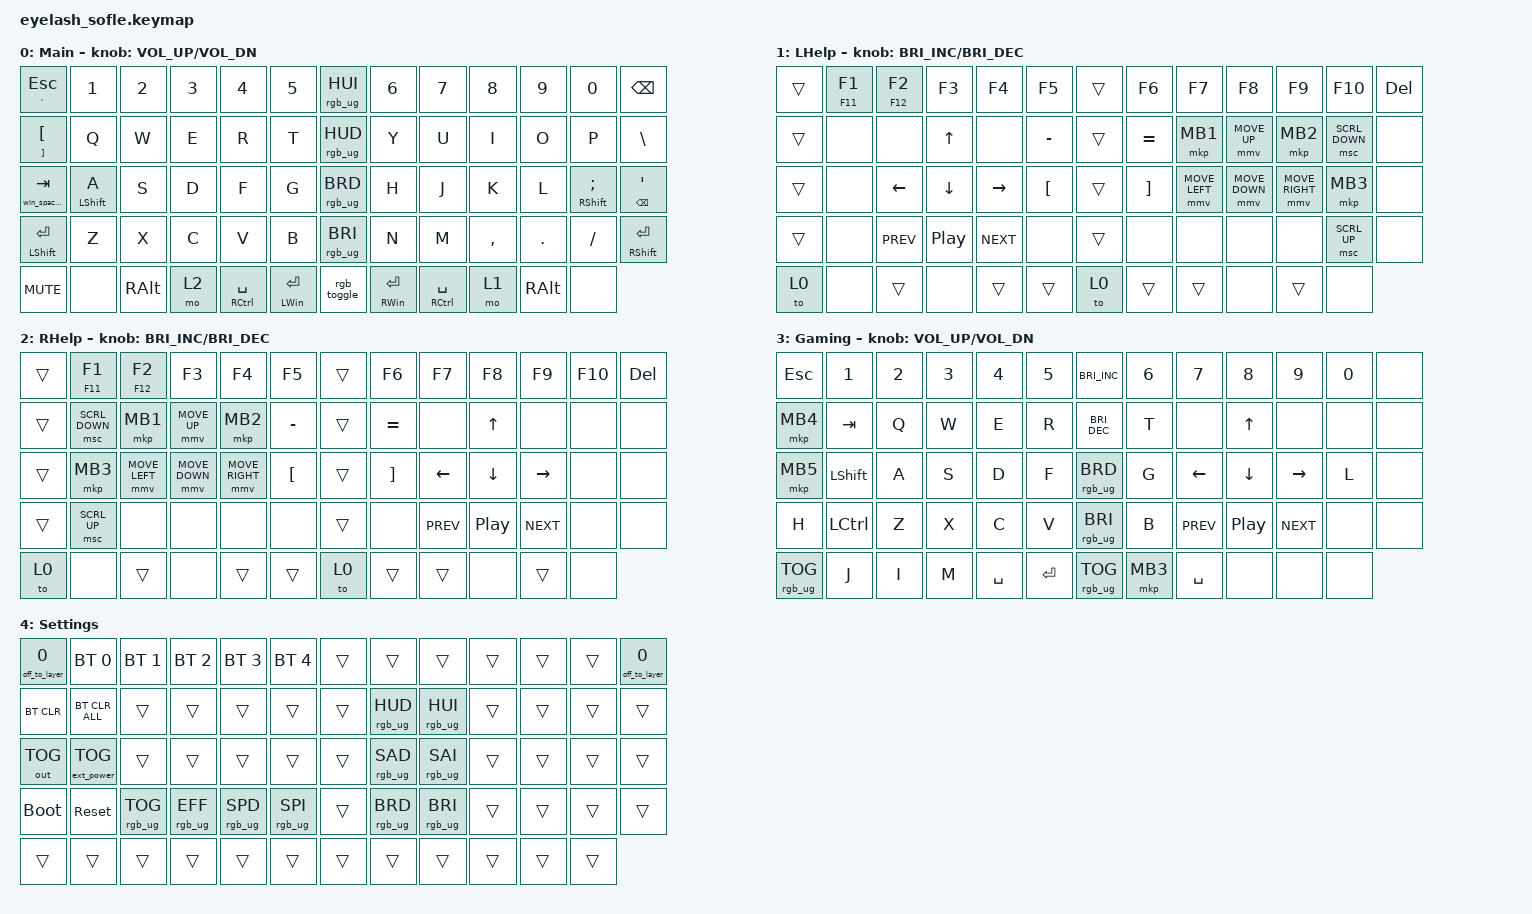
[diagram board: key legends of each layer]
#define ZMK_POINTING_DEFAULT_MOVE_VAL 400  // 600
#define ZMK_POINTING_DEFAULT_SCRL_VAL 10   // 10

#include <input/processors.dtsi>
#include <zephyr/dt-bindings/input/input-event-codes.h>
#include <behaviors.dtsi>
#include <dt-bindings/zmk/bt.h>
#include <dt-bindings/zmk/ext_power.h>
#include <dt-bindings/zmk/keys.h>
#include <dt-bindings/zmk/outputs.h>
#include <dt-bindings/zmk/pointing.h>
#include <dt-bindings/zmk/rgb.h>

&mmv_input_listener { input-processors = <&zip_xy_scaler 2 1>; };

&msc_input_listener { input-processors = <&zip_scroll_scaler 2 1>; };

&msc {
    acceleration-exponent = <0>;      // 0
    time-to-max-speed-ms = <500>;       // 300                   // 0
};

&mmv {
    time-to-max-speed-ms = <500>;
    acceleration-exponent = <1>;
    trigger-period-ms = <16>;
};

/ {
    scroll_encoder: scroll_encoder {
        compatible = "zmk,behavior-sensor-rotate";
        #sensor-binding-cells = <0>;
        bindings = <&msc SCRL_DOWN>, <&msc SCRL_UP>;

        tap-ms = <100>;
    };

    win_load: win_load {
        compatible = "zmk,behavior-tap-dance";
        label = "WIN_LOAD";
        #binding-cells = <0>;
        bindings = <&trans>, <&win>;
    };

    copy_paste: copy_paste {
        compatible = "zmk,behavior-tap-dance";
        label = "COPY_PASTE";
        #binding-cells = <0>;
        bindings = <&copy>, <&paste>;
    };

    home_row_mod_left: home_row_mod_left {
        compatible = "zmk,behavior-hold-tap";
        label = "HOME_ROW_MOD_LEFT";
        bindings = <&kp>, <&kp>;

        #binding-cells = <2>;
        hold-trigger-on-release;
        flavor = "balanced";
        require-prior-idle-ms = <150>;
        quick-tap-ms = <175>;
        tapping-term-ms = <280>;
        hold-trigger-key-positions = <7 8 9 10 11 12 20 21 22 23 24 25 33 34 35 36 37 38 46 47 48 49 50 51>;
    };

    home_row_mod_right: home_row_mod_right {
        compatible = "zmk,behavior-hold-tap";
        label = "HOME_ROW_MOD_RIGHT";
        bindings = <&kp>, <&kp>;

        #binding-cells = <2>;
        hold-trigger-on-release;
        flavor = "balanced";
        require-prior-idle-ms = <150>;
        quick-tap-ms = <175>;
        tapping-term-ms = <280>;
        hold-trigger-key-positions = <0 1 2 4 5 13 14 15 16 17 18 26 27 28 29 30 31 39 40 41 42 43 44 3>;
    };

    paste_ht_new: paste_ht_new {
        compatible = "zmk,behavior-hold-tap";
        label = "PASTE_HT_NEW";
        bindings = <&paste>, <&kp>;

        #binding-cells = <2>;
        flavor = "balanced";
        require-prior-idle-ms = <150>;
        quick-tap-ms = <175>;
        tapping-term-ms = <280>;
    };

    copy_ht_new: copy_ht_new {
        compatible = "zmk,behavior-hold-tap";
        label = "COPY_HT_NEW";
        bindings = <&copy>, <&kp>;

        #binding-cells = <2>;
        flavor = "balanced";
        require-prior-idle-ms = <150>;
        quick-tap-ms = <175>;
        tapping-term-ms = <280>;
    };

    change_lang_ht: change_lang_ht {
        compatible = "zmk,behavior-hold-tap";
        label = "CHANGE_LANG_HT";
        bindings = <&win_space_tgl>, <&kp>;

        #binding-cells = <2>;
        flavor = "balanced";
        require-prior-idle-ms = <150>;
        quick-tap-ms = <175>;
        tapping-term-ms = <280>;
    };

    behaviors {
    };

    combos {
        compatible = "zmk,combos";

        bracket_open {
            bindings = <&kp LEFT_BRACKET>;
            key-positions = <16 17>;
            layers = <0>;
        };

        equal {
            bindings = <&kp EQUAL>;
            key-positions = <34 35>;
            layers = <0>;
        };

        minus {
            bindings = <&kp MINUS>;
            key-positions = <29 30>;
            layers = <0>;
        };

        settings {
            bindings = <&rgb_to_layer 4 RGB_COLOR_HSB_VAL(64,100,50)>;
            key-positions = <53 54 55>;
            layers = <0 3>;
        };

        set_l {
            bindings = <&rgb_to_layer 4 RGB_COLOR_HSB_VAL(64,100,50)>;
            key-positions = <61 62 63>;
            layers = <0 3>;
        };

        gaming_mode {
            bindings = <&rgb_to_layer 3 RGB_COLOR_HSB_VAL(312,74,51)>;
            key-positions = <27 28 29 30>;
            layers = <0>;
        };

        bracket_close {
            bindings = <&kp RIGHT_BRACKET>;
            key-positions = <21 22>;
            layers = <0>;
        };

        lpar {
            bindings = <&kp LEFT_PARENTHESIS>;
            key-positions = <43 42>;
            layers = <0>;
        };

        rpar {
            bindings = <&kp RIGHT_PARENTHESIS>;
            key-positions = <48 47>;
            layers = <0>;
        };

        backspace {
            bindings = <&kp BACKSPACE>;
            key-positions = <60 56>;
        };
    };

    macros {
        rgb_mo_layer: rgb_layer {
            compatible = "zmk,behavior-macro-two-param";
            #binding-cells = <2>;
            bindings =
                <&macro_tap>,
                <&rgb_ug RGB_ON &macro_param_1to1>,
                <&macro_press>,
                <&mo MACRO_PLACEHOLDER &macro_param_2to2>,
                <&macro_tap>,
                <&rgb_ug RGB_COLOR_HSB_CMD MACRO_PLACEHOLDER>,
                <&macro_pause_for_release>,
                <&macro_param_1to1>,
                <&macro_release>,
                <&mo MACRO_PLACEHOLDER>,
                <&macro_tap>,
                <&rgb_ug RGB_OFF>;

            label = "RGB_LAYER";
            wait-ms = <0>;
            tap-ms = <0>;
        };

        win: win {
            compatible = "zmk,behavior-macro";
            #binding-cells = <0>;
            bindings =
                <&macro_press>,
                <&kp LEFT_GUI>,
                <&macro_tap>,
                <&kp ENTER>,
                <&macro_wait_time 1000>,
                <&macro_release>,
                <&kp LGUI>,
                <&macro_wait_time 100>,
                <&macro_tap>,
                <&kp W &kp I &kp N &kp RET>,
                <&macro_press>;

            label = "WIN";
        };

        rgb_to_layer: rgb_to_layer {
            compatible = "zmk,behavior-macro-two-param";
            #binding-cells = <2>;
            bindings =
                <&macro_param_1to1 &to MACRO_PLACEHOLDER>,
                <&macro_tap>,
                <&rgb_ug RGB_ON &macro_param_2to2 &rgb_ug RGB_COLOR_HSB_CMD MACRO_PLACEHOLDER>;

            label = "RGB_TO_LAYER";
            wait-ms = <0>;
            tap-ms = <0>;
        };

        off_to_layer: off_to_layer {
            compatible = "zmk,behavior-macro-one-param";
            #binding-cells = <1>;
            bindings =
                <&macro_param_1to1 &to MACRO_PLACEHOLDER>,
                <&macro_tap>,
                <&rgb_ug RGB_OFF>;

            label = "OFF_TO_LAYER";
            wait-ms = <0>;
            tap-ms = <0>;
        };

        rgb_toggle: rgb_toggle {
            compatible = "zmk,behavior-macro";
            #binding-cells = <0>;
            bindings = <&rgb_ug RGB_COLOR_HSB(341,100,61) &rgb_ug RGB_TOG>;
            label = "RGB_TOGGLE";
        };

        copy: copy {
            compatible = "zmk,behavior-macro";
            #binding-cells = <0>;
            bindings =
                <&macro_press>,
                <&kp RCTRL>,
                <&macro_tap>,
                <&kp C>,
                <&macro_release>,
                <&kp RCTRL>;

            label = "COPY";
        };

        paste: paste {
            compatible = "zmk,behavior-macro";
            #binding-cells = <0>;
            bindings =
                <&macro_press>,
                <&kp RCTRL>,
                <&macro_tap>,
                <&kp V>,
                <&macro_release>,
                <&kp RCTRL>;

            label = "PASTE";
        };

        win_space_tgl: win_space_tgl {
            compatible = "zmk,behavior-macro";
            #binding-cells = <0>;
            bindings =
                <&macro_press>,
                <&kp LEFT_WIN>,
                <&macro_tap>,
                <&kp SPACE>,
                <&macro_release>,
                <&kp LEFT_WIN>;

            label = "WIN_SPACE_TGL";
        };
    };

    keymap {
        compatible = "zmk,keymap";

        Main {
            bindings = <
&mt GRAVE ESC                   &kp N1                      &kp N2    &kp N3  &kp N4           &kp N5                &rgb_ug RGB_HUI  &kp N6               &kp N7           &kp N8     &kp N9    &kp N0                          &kp BACKSPACE
&mt RIGHT_BRACKET LEFT_BRACKET  &kp Q                       &kp W     &kp E   &kp R            &kp T                 &rgb_ug RGB_HUD  &kp Y                &kp U            &kp I      &kp O     &kp P                           &kp BSLH
&change_lang_ht 0 TAB           &home_row_mod_left LSHFT A  &kp S     &kp D   &kp F            &kp G                 &rgb_ug RGB_BRD  &kp H                &kp J            &kp K      &kp L     &home_row_mod_right RSHFT SEMI  &mt BACKSPACE APOS
&mt LSHFT ENTER                 &kp Z                       &kp X     &kp C   &kp V            &kp B                 &rgb_ug RGB_BRI  &kp N                &kp M            &kp COMMA  &kp DOT   &kp FSLH                        &mt RSHIFT ENTER
&kp C_MUTE                      &none                       &kp RALT  &mo 2   &mt RCTRL SPACE  &mt LEFT_WIN ENTER    &rgb_toggle      &mt RIGHT_WIN ENTER  &mt RCTRL SPACE  &mo 1      &kp RALT  &none
            >;

            sensor-bindings = <&inc_dec_kp C_VOLUME_UP C_VOL_DN>;
            display-name = "Main";
            label = "Main";
        };

        LHelp {
            bindings = <
&trans  &mt F11 F1  &mt F12 F2  &kp F3    &kp F4      &kp F5              &trans  &kp F6             &kp F7          &kp F8          &kp F9           &kp F10         &kp DEL
&trans  &none       &none       &kp UP    &none       &kp MINUS           &trans  &kp EQUAL          &mkp MB1        &mmv MOVE_UP    &mkp MB2         &msc SCRL_DOWN  &none
&trans  &none       &kp LEFT    &kp DOWN  &kp RIGHT   &kp LEFT_BRACKET    &trans  &kp RIGHT_BRACKET  &mmv MOVE_LEFT  &mmv MOVE_DOWN  &mmv MOVE_RIGHT  &mkp MB3        &none
&trans  &none       &kp C_PREV  &kp C_PP  &kp C_NEXT  &none               &trans  &none              &none           &none           &none            &msc SCRL_UP    &none
&to 0   &none       &trans      &none     &trans      &trans              &to 0   &trans             &trans          &none           &trans           &none
            >;

            display-name = "LHelp";
            sensor-bindings = <&inc_dec_kp C_BRI_INC C_BRI_DEC>;
        };

        RHelp {
            bindings = <
&trans  &mt F11 F1      &mt F12 F2      &kp F3          &kp F4           &kp F5              &trans  &kp F6             &kp F7      &kp F8    &kp F9      &kp F10  &kp DEL
&trans  &msc SCRL_DOWN  &mkp MB1        &mmv MOVE_UP    &mkp MB2         &kp MINUS           &trans  &kp EQUAL          &none       &kp UP    &none       &none    &none
&trans  &mkp MB3        &mmv MOVE_LEFT  &mmv MOVE_DOWN  &mmv MOVE_RIGHT  &kp LEFT_BRACKET    &trans  &kp RIGHT_BRACKET  &kp LEFT    &kp DOWN  &kp RIGHT   &none    &none
&trans  &msc SCRL_UP    &none           &none           &none            &none               &trans  &none              &kp C_PREV  &kp C_PP  &kp C_NEXT  &none    &none
&to 0   &none           &trans          &none           &trans           &trans              &to 0   &trans             &trans      &none     &trans      &none
            >;

            label = "RHelp";
            sensor-bindings = <&inc_dec_kp C_BRI_INC C_BRI_DEC>;
        };

        Gaming {
            bindings = <
&kp ESC          &kp NUMBER_1    &kp NUMBER_2  &kp NUMBER_3  &kp NUMBER_4  &kp NUMBER_5    &kp C_BRI_INC    &kp NUMBER_6  &kp NUMBER_7    &kp NUMBER_8    &kp NUMBER_9     &kp NUMBER_0  &none
&mkp MB4         &kp TAB         &kp Q         &kp W         &kp E         &kp R           &kp C_BRI_DEC    &kp T         &none           &kp UP_ARROW    &none            &none         &none
&mkp MB5         &kp LEFT_SHIFT  &kp A         &kp S         &kp D         &kp F           &rgb_ug RGB_BRD  &kp G         &kp LEFT_ARROW  &kp DOWN_ARROW  &kp RIGHT_ARROW  &kp L         &none
&kp H            &kp LCTRL       &kp Z         &kp X         &kp C         &kp V           &rgb_ug RGB_BRI  &kp B         &kp C_PREV      &kp C_PP        &kp C_NEXT       &none         &none
&rgb_ug RGB_TOG  &kp J           &kp I         &kp M         &kp SPACE     &kp ENTER       &rgb_ug RGB_TOG  &mkp MB3      &kp SPACE       &none           &none            &none
            >;

            label = "Gaming";
            sensor-bindings = <&inc_dec_kp C_VOL_UP C_VOL_DN>;
        };

        Settings {
            bindings = <
&off_to_layer 0  &bt BT_SEL 0       &bt BT_SEL 1     &bt BT_SEL 2     &bt BT_SEL 3     &bt BT_SEL 4       &trans  &trans           &trans           &trans  &trans  &trans  &off_to_layer 0
&bt BT_CLR       &bt BT_CLR_ALL     &trans           &trans           &trans           &trans             &trans  &rgb_ug RGB_HUD  &rgb_ug RGB_HUI  &trans  &trans  &trans  &trans
&out OUT_TOG     &ext_power EP_TOG  &trans           &trans           &trans           &trans             &trans  &rgb_ug RGB_SAD  &rgb_ug RGB_SAI  &trans  &trans  &trans  &trans
&bootloader      &sys_reset         &rgb_ug RGB_TOG  &rgb_ug RGB_EFF  &rgb_ug RGB_SPD  &rgb_ug RGB_SPI    &trans  &rgb_ug RGB_BRD  &rgb_ug RGB_BRI  &trans  &trans  &trans  &trans
&trans           &trans             &trans           &trans           &trans           &trans             &trans  &trans           &trans           &trans  &trans  &trans
            >;

            label = "Settings";
        };
    };
};
